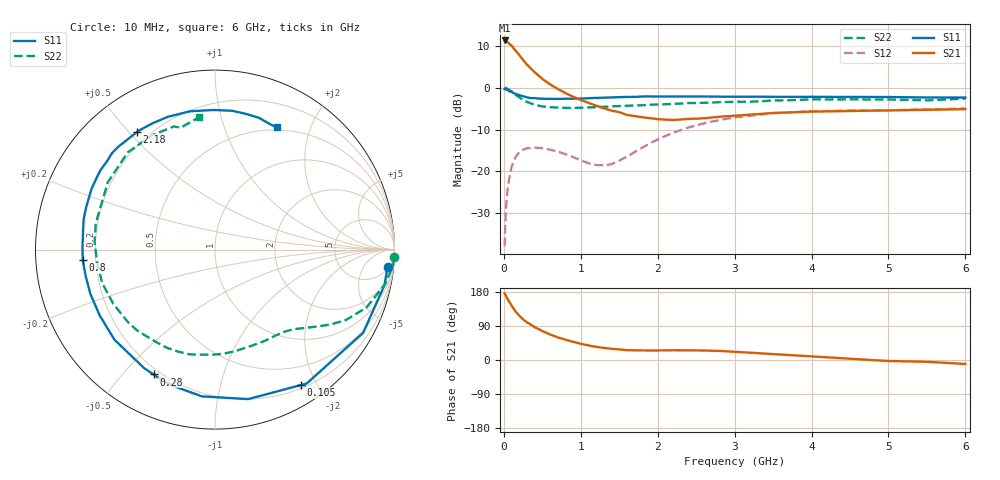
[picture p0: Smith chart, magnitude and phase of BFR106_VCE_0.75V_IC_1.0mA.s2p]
! Infineon Technologies  Discrete & RF Semiconductors
! BFR106
! VCE = 0.75 V,  IC =  1.0 mA
! Common Emitter S-Parameters:  Nov 2015
# GHz  S  MA  R  50
!  f  S11  S21  S12  S22
! GHz  MAG  ANG  MAG  ANG  MAG  ANG  MAG  ANG
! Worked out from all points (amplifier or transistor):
!   210 points, 10 MHz to 6 GHz, reference 50 ohm
!   highest |S21| = 11.3 dB at 10 MHz (marker M1)
!   |S21| within 3 dB of that: start of sweep to 177.6 MHz
!   unconditionally stable (mu >= 1): 825.9 MHz to end of sweep
!   at 185 MHz: K = 0.23, MSG = 12.0 dB, |S12| = -15.8 dB
!   at 1.52 GHz: K = 1.52, MAG = 1.4 dB, |S12| = -17.3 dB
!   at 6 GHz: K = 1.02, MAG = -1.0 dB, |S12| = -5.0 dB
!   S11 on the Smith chart (normalised r, x): 10 MHz: 6, -17; 105 MHz: 0.24, -1.79; 280 MHz: 0.17, -0.61; 800 MHz: 0.15, -0.04; 2.18 GHz: 0.15, +0.53; 6 GHz: 0.47, +1.52
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0.01  0.9662 -5.9  3.678 175.5  0.0127 86.7  0.9977 -2.5
0.025  0.9556 -14.7  3.612 170.2  0.0314 79.1  0.991 -5.8
0.045  0.9436 -26.4  3.527 162.1  0.0561 73.1  0.9718 -10.3
0.05  0.9467 -29.3  3.517 160.0  0.0623 72.4  0.968 -11.4
0.105  0.8935 -57.6  3.152 142.1  0.1163 56.6  0.8953 -21.7
0.15  0.8532 -77.5  2.798 128.0  0.1474 45.8  0.8299 -28.1
0.2  0.821 -95.1  2.468 117.1  0.1686 36.9  0.7673 -33.0
0.24  0.7948 -106.6  2.208 109.1  0.1785 30.8  0.7223 -36.2
0.28  0.7755 -116.2  1.992 102.5  0.1856 26.3  0.6907 -38.7
0.4  0.7522 -138.1  1.533 86.6  0.1926 16.0  0.625 -45.1
0.5  0.7398 -150.2  1.273 76.3  0.1897 10.4  0.5972 -50.2
0.6  0.737 -160.4  1.096 67.4  0.1816 6.7  0.5845 -55.5
0.8  0.7394 -175.4  0.862 53.5  0.1606 3.8  0.5744 -66.8
1.02  0.7429 171.6  0.702 41.9  0.1334 8.4  0.5774 -80.0
1.4  0.7669 153.6  0.532 29.6  0.122 36.5  0.6002 -103.6
2.02  0.7842 128.8  0.419 25.2  0.2449 55.4  0.6311 -141.7
2.18  0.7864 123.6  0.412 25.6  0.2837 53.6  0.64 -150.9
2.6  0.7857 110.1  0.43 25.1  0.3745 45.1  0.6607 -173.7
3.1  0.7802 98.3  0.469 20.5  0.4512 33.0  0.6788 163.5
4.1  0.778 81.8  0.519 8.5  0.5251 12.9  0.7249 129.3
5.1  0.7717 70.7  0.537 -3.1  0.5401 -0.8  0.7197 107.9
6  0.7628 63.2  0.554 -10.5  0.5647 -9.9  0.742 97.0
